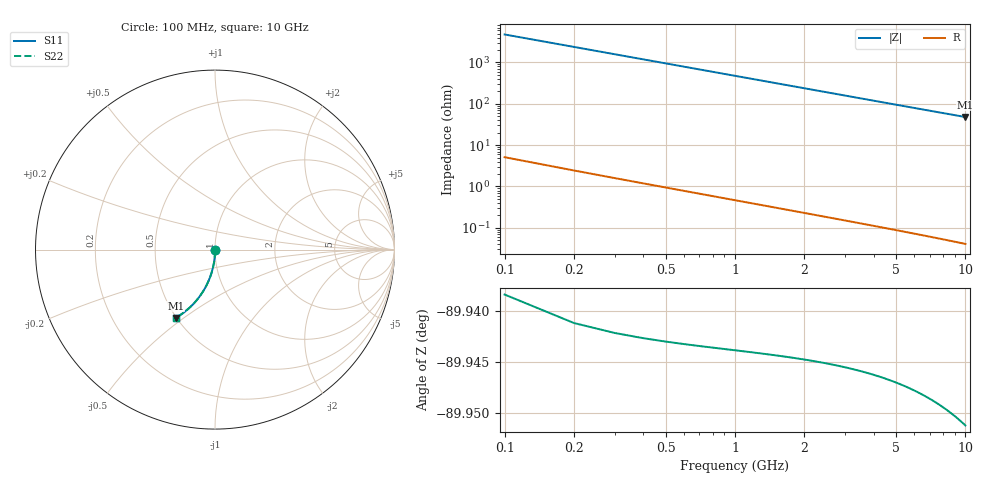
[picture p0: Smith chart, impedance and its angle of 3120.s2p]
# Hz S RI R 50.00
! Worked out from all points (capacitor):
!   100 points, 100 MHz to 10 GHz, reference 50 ohm
!   read as one part in shunt: C = 335 fF near 100 MHz
!   lowest |Z| = 47.9 ohm at 10 GHz (marker M1)
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1e8  0.000252 -0.00492  0.9997 -0.00559  0.9997 -0.00559  0.000252 -0.00492
2e8  0.000166 -0.00985  0.9996 -0.0112  0.9996 -0.0112  0.000166 -0.00985
3e8  2.51e-05 -0.0148  0.9994 -0.0168  0.9994 -0.0168  2.51e-05 -0.0148
4e8  -0.000171 -0.0197  0.9992 -0.0223  0.9992 -0.0223  -0.000171 -0.0197
5e8  -0.000423 -0.0246  0.999 -0.0279  0.999 -0.0279  -0.000423 -0.0246
6e8  -0.00073 -0.0295  0.9987 -0.0335  0.9987 -0.0335  -0.00073 -0.0295
7e8  -0.00109 -0.0344  0.9983 -0.0391  0.9983 -0.0391  -0.00109 -0.0344
8e8  -0.00151 -0.0393  0.9979 -0.0446  0.9979 -0.0446  -0.00151 -0.0393
9e8  -0.00198 -0.0442  0.9974 -0.0502  0.9974 -0.0502  -0.00198 -0.0442
1.1e9  -0.00308 -0.054  0.9963 -0.0613  0.9963 -0.0613  -0.00308 -0.054
1.4e9  -0.00514 -0.0686  0.9942 -0.0779  0.9942 -0.0779  -0.00514 -0.0686
1.8e9  -0.00864 -0.0878  0.9907 -0.0998  0.9907 -0.0998  -0.00864 -0.0878
2.1e9  -0.0118 -0.1021  0.9875 -0.1161  0.9875 -0.1161  -0.0118 -0.1021
2.5e9  -0.0168 -0.121  0.9825 -0.1376  0.9825 -0.1376  -0.0168 -0.121
2.9e9  -0.0225 -0.1395  0.9767 -0.1588  0.9767 -0.1588  -0.0225 -0.1395
3.4e9  -0.0308 -0.1621  0.9684 -0.1847  0.9684 -0.1847  -0.0308 -0.1621
4.2e9  -0.0464 -0.1969  0.9526 -0.2249  0.9526 -0.2249  -0.0464 -0.1969
5.1e9  -0.0671 -0.2337  0.9317 -0.2677  0.9317 -0.2677  -0.0671 -0.2337
5.9e9  -0.0879 -0.264  0.9107 -0.3034  0.9107 -0.3034  -0.0879 -0.264
6.7e9  -0.1108 -0.292  0.8876 -0.3367  0.8876 -0.3367  -0.1108 -0.292
8.4e9  -0.1643 -0.343  0.8334 -0.3992  0.8334 -0.3992  -0.1643 -0.343
1e10  -0.2187 -0.3803  0.7784 -0.4474  0.7784 -0.4474  -0.2187 -0.3803
